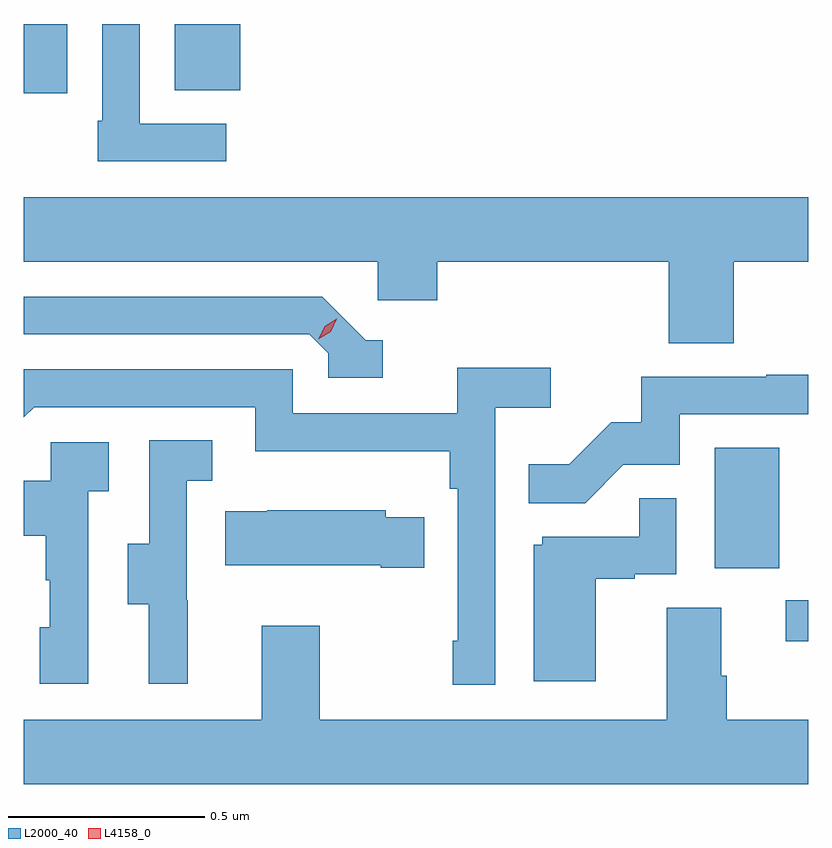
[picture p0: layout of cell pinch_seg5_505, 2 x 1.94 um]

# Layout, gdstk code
import gdstk
lib = gdstk.Library(unit=1e-6, precision=1e-09)
def R(c, l, rs):  # rectangles x0, y0, x1, y1
    for r in rs: c.add(gdstk.rectangle(r[:2], r[2:], *l))
def P(c, l, *ps):  # polygons
    for p in ps: c.add(gdstk.Polygon(p, *l))
L2000_40 = (2000, 40)
L4158_0 = (4158, 0)

pinch_seg5_505 = lib.new_cell('pinch_seg5_505')
R(pinch_seg5_505, L2000_40, [(895.479,835.812,895.536,835.917), (895.298,835.998,895.462,836.305), (893.536,837.21,893.647,837.386), (893.921,837.217,894.088,837.386)])
P(pinch_seg5_505, L2000_40, [(894.052,837.132),(893.832,837.132),(893.832,837.386),(893.736,837.386),(893.736,837.139),(893.724,837.139),(893.724,837.036),(894.052,837.036)],
  [(895.346,836.78),(895.536,836.78),(895.536,836.944),(893.536,836.944),(893.536,836.78),(894.438,836.78),(894.438,836.682),(894.59,836.682),(894.59,836.78),(895.181,836.78),(895.181,836.572),(895.346,836.572)],
  [(894.451,836.58),(894.408,836.58),(894.297,836.691),(893.536,836.691),(893.536,836.595),(894.264,836.595),(894.312,836.547),(894.312,836.484),(894.451,836.484)],
  [(894.738,836.408),(894.88,836.408),(894.88,836.51),(894.641,836.51),(894.641,836.394),(894.222,836.394),(894.222,836.505),(893.536,836.505),(893.536,836.383),(893.562,836.409),(894.126,836.409),(894.126,836.297),(894.622,836.297),(894.622,836.201),(894.642,836.201),(894.642,835.813),(894.63,835.813),(894.63,835.701),(894.738,835.701)],
  [(895.065,836.262),(895.209,836.262),(895.209,836.391),(895.536,836.391),(895.536,836.492),(895.429,836.492),(895.429,836.487),(895.111,836.487),(895.111,836.37),(895.034,836.37),(894.927,836.263),(894.823,836.263),(894.823,836.164),(894.967,836.164)],
  [(893.954,835.917),(893.952,835.917),(893.952,836.221),(894.016,836.221),(894.016,836.324),(893.856,836.324),(893.856,836.061),(893.801,836.061),(893.801,835.906),(893.855,835.906),(893.855,835.704),(893.954,835.704)],
  [(893.7,836.195),(893.752,836.195),(893.752,836.319),(893.604,836.319),(893.604,836.221),(893.536,836.221),(893.536,836.081),(893.592,836.081),(893.592,835.967),(893.602,835.967),(893.602,835.848),(893.576,835.848),(893.576,835.704),(893.7,835.704)],
  [(894.994,835.971),(895.094,835.971),(895.094,835.983),(895.2,835.983),(895.2,836.177),(895.105,836.177),(895.105,836.079),(894.858,836.079),(894.858,836.058),(894.836,836.058),(894.836,835.71),(894.994,835.71)],
  [(894.557,836.128),(894.459,836.128),(894.459,836.146),(894.157,836.146),(894.157,836.143),(894.049,836.143),(894.049,836.006),(894.446,836.006),(894.446,835.999),(894.557,835.999)],
  [(895.536,835.612),(895.328,835.612),(895.328,835.724),(895.315,835.724),(895.315,835.898),(895.175,835.898),(895.175,835.612),(894.291,835.612),(894.291,835.852),(894.143,835.852),(894.143,835.612),(893.536,835.612),(893.536,835.448),(895.536,835.448)])
P(pinch_seg5_505, L4158_0, [(894.287,836.582),(894.287,836.582),(894.303,836.615),(894.334,836.634),(894.334,836.634),(894.334,836.634),(894.318,836.601),(894.287,836.582)])

lib.write_gds('pinch_seg5_505.gds')
